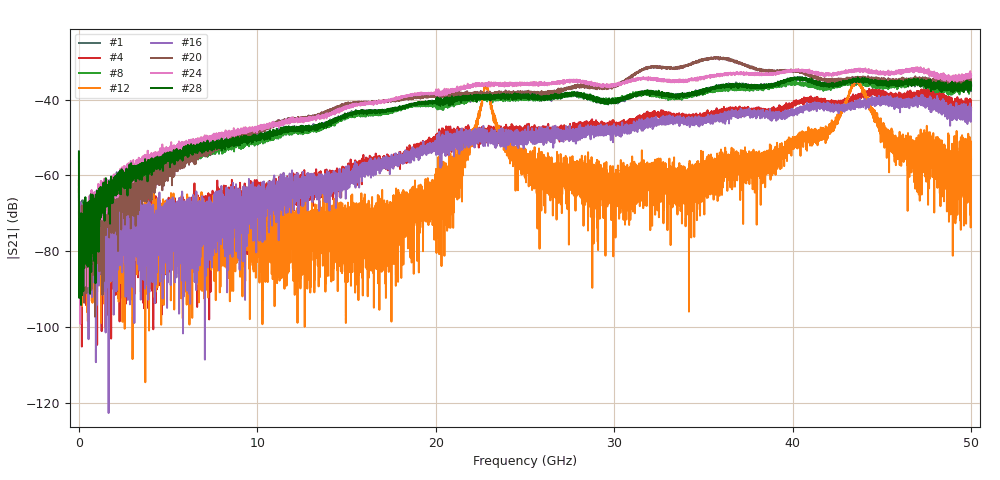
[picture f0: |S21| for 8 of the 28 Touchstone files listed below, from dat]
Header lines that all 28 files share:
!Created with skrf (http://scikit-rf.org).
# Hz S RI R 50.0
!freq ReS11 ImS11 ReS21 ImS21 ReS12 ImS12 ReS22 ImS22
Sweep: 300 kHz to 50 GHz
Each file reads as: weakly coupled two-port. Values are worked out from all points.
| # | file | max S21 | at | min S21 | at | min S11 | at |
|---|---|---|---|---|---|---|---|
| 1 | drift01_0_so1.s2p | -33.99 dB | 40.41 GHz | -92.7 dB | 235.3 MHz | -28.5 dB | 18.16 GHz |
| 2 | drift01_0_so1o2.s2p | -28.82 dB | 35.74 GHz | -94.3 dB | 1.21 GHz | -25.8 dB | 5.3 MHz |
| 3 | drift01_0_so1o2o3o4.s2p | -34.72 dB | 43.63 GHz | -113.6 dB | 16.86 GHz | -6.7 dB | 47.17 GHz |
| 4 | drift01_0_so1o2o4.s2p | -37.07 dB | 47.6 GHz | -105.1 dB | 165.3 MHz | -6.2 dB | 29.61 GHz |
| 5 | drift01_0_so1o4.s2p | -30.65 dB | 40.53 GHz | -91.8 dB | 65.3 MHz | -56.4 dB | 42.86 GHz |
| 6 | drift01_0_so2o3.s2p | -31.45 dB | 46.94 GHz | -95.2 dB | 215.3 MHz | -6.8 dB | 47.21 GHz |
| 7 | drift01_0_so2o3o4.s2p | -38.52 dB | 47.45 GHz | -109.0 dB | 325.3 MHz | -6.8 dB | 47.2 GHz |
| 8 | drift01_0_so3.s2p | -34.36 dB | 47.02 GHz | -93.2 dB | 80.3 MHz | -6.8 dB | 47.21 GHz |
| 9 | drift01_0_so3o4.s2p | -29.57 dB | 35.23 GHz | -99.5 dB | 5.3 MHz | -6.8 dB | 47.21 GHz |
| 10 | drift01_1_so1.s2p | -34.12 dB | 43.72 GHz | -102.4 dB | 290.3 MHz | -28.5 dB | 18.3 GHz |
| 11 | drift01_1_so1o2.s2p | -28.78 dB | 35.68 GHz | -95.4 dB | 480.3 MHz | -25.8 dB | 5.3 MHz |
| 12 | drift01_1_so1o2o3o4.s2p | -34.46 dB | 43.56 GHz | -114.5 dB | 3.72 GHz | -6.7 dB | 47.21 GHz |
| 13 | drift01_1_so1o2o4.s2p | -36.98 dB | 47.53 GHz | -100.7 dB | 5.325 GHz | -6.2 dB | 29.62 GHz |
| 14 | drift01_1_so1o4.s2p | -30.52 dB | 40.41 GHz | -102.6 dB | 105.3 MHz | -53.9 dB | 42.97 GHz |
| 15 | drift01_1_so2o3.s2p | -31.39 dB | 47.24 GHz | -101.9 dB | 295.3 MHz | -6.7 dB | 47.2 GHz |
| 16 | drift01_1_so2o3o4.s2p | -38.76 dB | 47.23 GHz | -122.6 dB | 1.665 GHz | -6.8 dB | 47.18 GHz |
| 17 | drift01_1_so3.s2p | -34.47 dB | 46.96 GHz | -95.6 dB | 10.3 MHz | -6.8 dB | 47.03 GHz |
| 18 | drift01_1_so3o4.s2p | -29.64 dB | 35.35 GHz | -95.0 dB | 155.3 MHz | -6.9 dB | 47.2 GHz |
| 19 | drift01_2_so1.s2p | -34.02 dB | 44.03 GHz | -104.5 dB | 110.3 MHz | -28.5 dB | 18.17 GHz |
| 20 | drift01_2_so1o2.s2p | -28.84 dB | 35.83 GHz | -97.2 dB | 900.3 MHz | -25.8 dB | 5.3 MHz |
| 21 | drift01_2_so1o2o3o4.s2p | -34.79 dB | 43.64 GHz | -105.4 dB | 18.05 GHz | -6.7 dB | 47.21 GHz |
| 22 | drift01_2_so1o2o4.s2p | -37.09 dB | 44.32 GHz | -112.2 dB | 6.36 GHz | -6.2 dB | 29.61 GHz |
| 23 | drift01_2_so1o4.s2p | -30.60 dB | 40.36 GHz | -93.1 dB | 625.3 MHz | -51.6 dB | 42.96 GHz |
| 24 | drift01_2_so2o3.s2p | -31.44 dB | 47 GHz | -99.1 dB | 70.3 MHz | -6.8 dB | 47.21 GHz |
| 25 | drift01_2_so2o3o4.s2p | -38.24 dB | 47.06 GHz | -108.3 dB | 3.71 GHz | -6.7 dB | 47.15 GHz |
| 26 | drift01_2_so3.s2p | -34.31 dB | 46.96 GHz | -92.0 dB | 415.3 MHz | -6.8 dB | 47.21 GHz |
| 27 | drift01_2_so3o4.s2p | -29.53 dB | 35.76 GHz | -103.4 dB | 100.3 MHz | -6.8 dB | 47.2 GHz |
| 28 | drift01_3_so1.s2p | -34.12 dB | 43.65 GHz | -94.1 dB | 120.3 MHz | -28.5 dB | 18.16 GHz |
